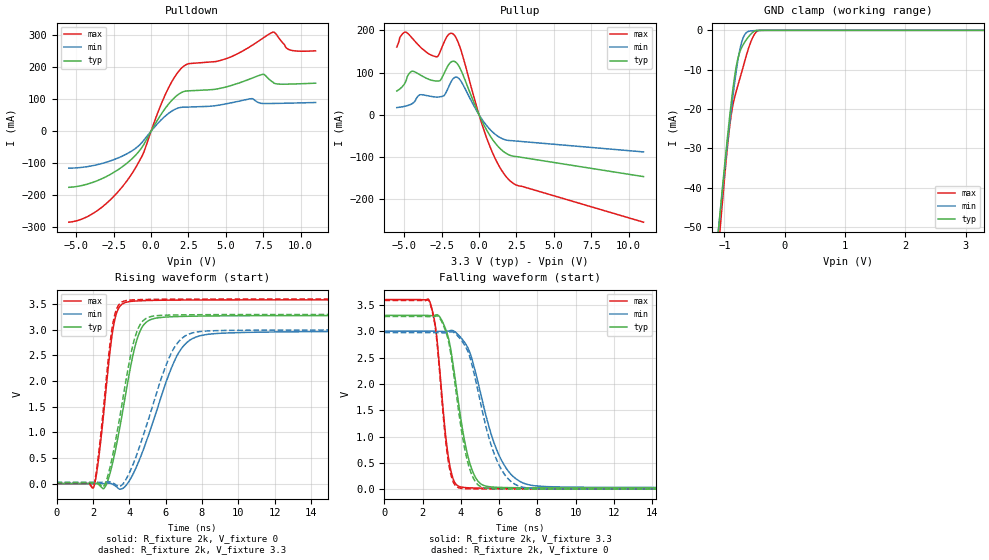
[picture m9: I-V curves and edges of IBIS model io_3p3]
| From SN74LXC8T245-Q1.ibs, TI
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[Model]   io_3p3
Model_type  I/O
Vinl=0.8
Vinh=2.0
Enable   Active-Low
Vref =   0
Rref =   2000
Cref =   15p
Vmeas =   1.5
| variable   typ   min   max
C_comp   6.05pF   5.21pF   7.21pF
| C_pullup   14.02pF   6.09pF   25.42pF
| C_pulldown   9.23pF   6.55pF   14.97pF
| C_tri-state   6.05pF   5.21pF   7.21pF
[Temperature Range]   40   100   -40
| Ambient temperature   25   85   -40
[Voltage range]   3.3   3   3.6
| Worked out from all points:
|   slope of the pulldown table from 0 to 0.495 V, typ, clamps not added: 12.4 ohm
|   slope of the pullup table from 0 to 0.495 V, typ, clamps not added: 14 ohm
|   GND clamp passes 1 mA (typ) near -0.56 V on its own axis
|   rising waveform, R_fixture 2k, V_fixture 0: 20-80 % time 1.04ns typ, 1.77ns min, 650ps max; typ from 0 V to 3.28 V
|   falling waveform, R_fixture 2k, V_fixture 3.3: 20-80 % time 862ps typ, 1.4ns min, 560ps max; typ from 3.3 V to 0.019 V
|   rising waveform, R_fixture 2k, V_fixture 3.3: 20-80 % time 1.01ns typ, 1.67ns min, 635ps max; typ from 0.019 V to 3.3 V
|   falling waveform, R_fixture 2k, V_fixture 0: 20-80 % time 817ps typ, 1.26ns min, 542ps max; typ from 3.28 V to 0 V
[GND Clamp]
| LXC8T245_IO_33
|   Voltage   I(typ)   I(min)   I(max)
-5.5V     -897.1mA   -831.9mA   -1.015A
-1.095V   -50.17mA   -50.04mA   -54.92mA
-1.065V   -45.25mA   -45.49mA   -49.39mA
-970mV    -30.27mA   -31.55mA   -32.88mA
-905mV    -20.84mA   -22.59mA   -23.49mA
-860mV    -15.02mA   -16.81mA   -19.04mA
-790mV    -8.096mA   -8.927mA   -14.74mA
-735mV    -5.102mA   -4.277mA   -11.79mA
-675mV    -3.272mA   -1.404mA   -8.498mA
-560mV    -930.2uA   -146.6uA   -2.855mA
-455mV    -11.08uA   -48.45uA   -188.9uA
3.3V      32.42pA    190.2nA    586.5pA
[Pulldown]
| LXC8T245_IO_33
|   Voltage   I(typ)   I(min)   I(max)
-5.5V     -176.2mA   -116.1mA   -285.6mA
-3.56V    -154.7mA   -104.8mA   -248.1mA
-1.62V    -100.7mA   -71.19mA   -156.1mA
-535mV    -45.52mA   -31.12mA   -71.38mA
1.155V    84.06mA    55.16mA    134.7mA
2.23V     124.7mA    75.07mA    205.2mA
5.1V      139.6mA    86.34mA    228.5mA
6.75V     166.1mA    101.8mA    268.8mA
7.495V    178.1mA    86.65mA    292mA
8.17V     152.3mA    86.77mA    310.5mA
9.2V      147.4mA    87.68mA    256mA
11V       150.3mA    89.74mA    251.8mA
[Pullup]
| LXC8T245_IO_33
|   Voltage   I(typ)   I(min)   I(max)
-5.5V     56.18mA    16.98mA    160.3mA
-4.89V    79.66mA    20.64mA    195.7mA
-4.445V   103.3mA    26.89mA    180.5mA
-3.945V   94.62mA    47.4mA     161.1mA
-2.805V   79.84mA    41.85mA    137.4mA
-2.095V   114.9mA    61.02mA    187.6mA
-1.66V    126.5mA    87.57mA    189.1mA
-1.24V    108mA      81.18mA    156.3mA
695mV     -47.39mA   -33.41mA   -72.26mA
1.475V    -82.35mA   -55.39mA   -129.6mA
2.255V    -98mA      -61.58mA   -161.7mA
11V       -146.5mA   -88.02mA   -254.5mA
[Ramp]
| LXC8T245_IO_33
| variable   typ   min   max
dV/dt_r   1.98/0.66E-09   1.78/0.95E-09   2.17/8.51E-10
dV/dt_f   1.98/7.52E-10   1.78/1.2E-09   2.17/6.07E-10
R_load = 2k
[Rising Waveform]
| LXC8T245_IO_33
R_fixture =   2k
C_fixture =   0
L_fixture =   0
V_fixture =   0
V_fixture_min = 0
V_fixture_max = 0
|   Time   V(typ)   V(min)   V(max)
0s        346pV      6.356nV    1.892nV
2.055ns   1.068mV    -1.68uV    -61.68mV
2.61ns    -93.84mV   118.6uV    1.428V
3.125ns   464.3mV    -18.53mV   3.053V
3.82ns    1.781V     -36.42mV   3.536V
4.36ns    2.732V     298.2mV    3.562V
4.865ns   3.125V     749.2mV    3.57V
6.595ns   3.258V     2.473V     3.58V
7.86ns    3.268V     2.881V     3.582V
34.99ns   3.279V     2.973V     3.584V
[Falling Waveform]
| LXC8T245_IO_33
R_fixture =   2k
C_fixture =   0
L_fixture =   0
V_fixture =   3.3
V_fixture_min = 3
V_fixture_max = 3.6
|   Time   V(typ)   V(min)   V(max)
0s        3.3V       3V         3.6V
2.365ns   3.298V     3V         3.566V
2.705ns   3.309V     2.999V     2.98V
3.37ns    2.833V     3.005V     543mV
3.95ns    1.442V     2.896V     45.68mV
4.42ns    548.6mV    2.637V     25.86mV
4.92ns    139.1mV    1.986V     21mV
6.065ns   33.13mV    588.5mV    18mV
7.49ns    25.65mV    88.17mV    15.96mV
34.99ns   19.26mV    26.22mV    13.14mV
[Rising Waveform]
| LXC8T245_IO_33
R_fixture =   2k
C_fixture =   0
L_fixture =   0
V_fixture =   3.3
V_fixture_min = 3
V_fixture_max = 3.6
|   Time   V(typ)   V(min)   V(max)
0s        19.2mV     25.88mV    13.13mV
2.04ns    19.86mV    25.88mV    -41.85mV
2.6ns     -52.64mV   25.93mV    1.537V
3.075ns   530.8mV    17.65mV    3.068V
3.735ns   1.837V     33.43mV    3.562V
4.255ns   2.778V     416.3mV    3.585V
4.73ns    3.165V     893.1mV    3.59V
6.29ns    3.288V     2.53V      3.597V
7.48ns    3.294V     2.94V      3.598V
34.99ns   3.3V       3V         3.6V
[Falling Waveform]
| LXC8T245_IO_33
R_fixture =   2k
C_fixture =   0
L_fixture =   0
V_fixture =   0
V_fixture_min = 0
V_fixture_max = 0
|   Time   V(typ)   V(min)   V(max)
0s        3.279V     2.974V     3.585V
2.36ns    3.277V     2.974V     3.553V
2.695ns   3.287V     2.973V     2.966V
3.345ns   2.816V     2.977V     515.5mV
3.9ns     1.428V     2.881V     24.34mV
4.345ns   525.8mV    2.631V     7.26mV
4.82ns    110mV      1.985V     4.059mV
5.885ns   6.085mV    541.1mV    2.961mV
7.19ns    2.345mV    40.66mV    1.88mV
34.99ns   58.97uV    216uV      7.446uV
